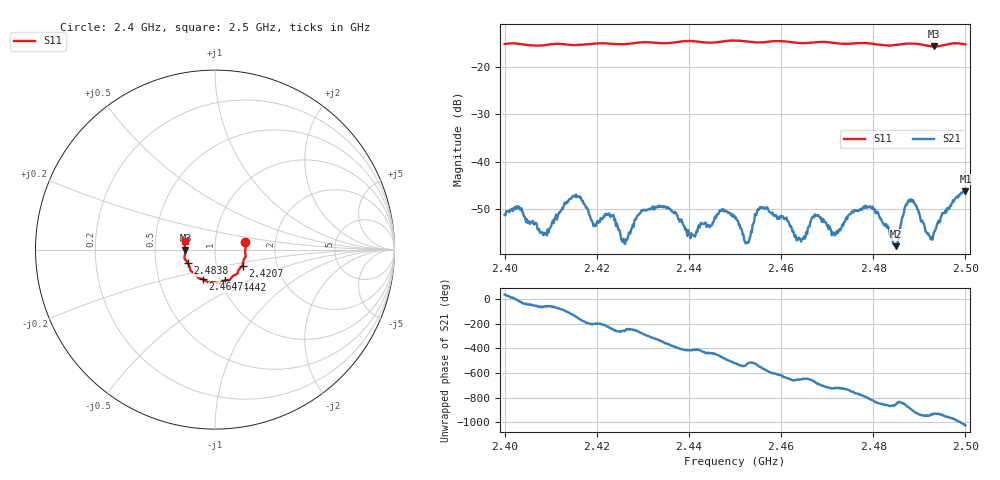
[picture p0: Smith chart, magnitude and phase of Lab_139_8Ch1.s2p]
# Hz S RI R 50
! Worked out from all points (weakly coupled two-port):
!   601 points, 2.4 GHz to 2.5 GHz, reference 50 ohm
!   highest |S21| = -46.17 dB at 2.5 GHz (marker M1); lowest = -57.8 dB at 2.485 GHz (marker M2)
!   lowest |S11| = -15.7 dB at 2.4932 GHz (marker M3), VSWR 1.39, Z = 35.9 - j0.209 ohm
!   |S11| at or under -10 dB: start of sweep to end of sweep
!   S12 and S22 are empty: the file has one direction only
!   S11 on the Smith chart (normalised r, x): 2.4 GHz: 1.40, +0.12; 2.4207 GHz: 1.34, -0.25; 2.4442 GHz: 1.06, -0.37; 2.4647 GHz: 0.83, -0.29; 2.4838 GHz: 0.73, -0.11; 2.5 GHz: 0.71, +0.07
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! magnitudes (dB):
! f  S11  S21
! 2.4 GHz  -15.2  -51.2
! 2.4087 GHz  -15.4  -55.0
! 2.4167 GHz  -15.3  -48.0
! 2.4207 GHz  -15.0  -52.7
! 2.4232 GHz  -15.1  -51.4
! 2.426 GHz  -15.2  -57.2
! 2.4333 GHz  -14.9  -49.6
! 2.4407 GHz  -14.5  -55.4
! 2.4442 GHz  -14.9  -53.3
! 2.45 GHz  -14.4  -51.9
! 2.4525 GHz  -14.6  -57.0
! 2.4558 GHz  -14.8  -49.8
! 2.4647 GHz  -15.0  -56.2
! 2.4667 GHz  -14.8  -51.9
! 2.4715 GHz  -14.9  -55.0
! 2.4788 GHz  -15.0  -49.5
! 2.4833 GHz  -15.5  -54.0
! 2.4838 GHz  -15.5  -55.3
! 2.485 GHz  -15.3  -57.8
! 2.4882 GHz  -15.0  -47.9
! 2.4932 GHz  -15.7  -54.8
! 2.5 GHz  -15.2  -46.2
